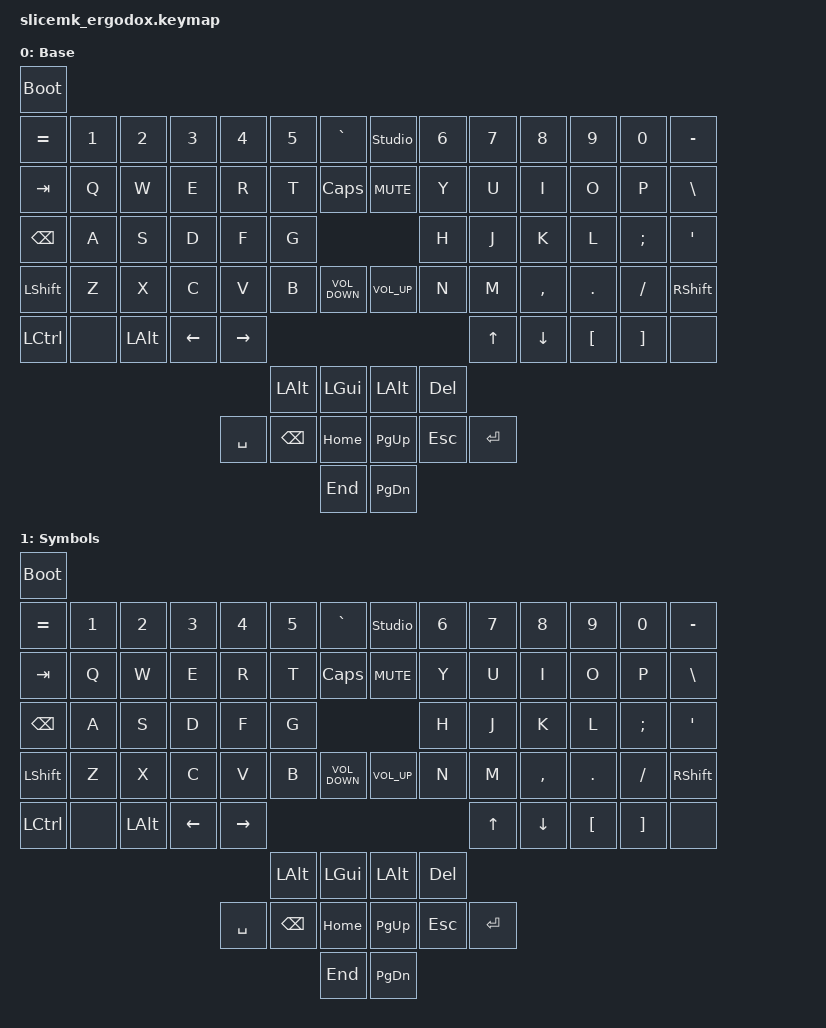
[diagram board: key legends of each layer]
#define LAYER_TEST 0

#include <behaviors.dtsi>
#include <dt-bindings/zmk/bt.h>
#include <dt-bindings/zmk/keys.h>
#include <dt-bindings/zmk/outputs.h>
#include <dt-bindings/zmk/pointing.h>
#include <dt-bindings/zmk/rgb.h>

/ {
	keymap {
		compatible = "zmk,keymap";
		base {
      display-name = "Base";
			bindings = <
				&bootloader
				&kp EQUAL        &kp NUMBER_1 &kp NUMBER_2 &kp NUMBER_3   &kp NUMBER_4    &kp NUMBER_5  &kp GRAVE         &studio_unlock  &kp NUMBER_6 &kp NUMBER_7 &kp NUMBER_8   &kp NUMBER_9     &kp NUMBER_0      &kp MINUS
				&kp TAB          &kp Q        &kp W        &kp E          &kp R           &kp T         &kp CAPSLOCK      &kp C_MUTE      &kp Y        &kp U        &kp I          &kp O            &kp P             &kp BACKSLASH
				&kp BACKSPACE    &kp A        &kp S        &kp D          &kp F           &kp G                                           &kp H        &kp J        &kp K          &kp L            &kp SEMICOLON     &kp SINGLE_QUOTE
				&kp LEFT_SHIFT   &kp Z        &kp X        &kp C          &kp V           &kp B         &kp C_VOLUME_DOWN &kp C_VOLUME_UP &kp N        &kp M        &kp COMMA      &kp PERIOD       &kp SLASH         &kp RIGHT_SHIFT
				&kp LEFT_CONTROL &none        &kp LEFT_ALT &kp LEFT_ARROW &kp RIGHT_ARROW                                                              &kp UP_ARROW &kp DOWN_ARROW &kp LEFT_BRACKET &kp RIGHT_BRACKET &none
				                                                                          &kp LEFT_ALT  &kp LEFT_GUI      &kp LEFT_ALT    &kp DELETE
				                                                          &kp SPACE       &kp BACKSPACE &kp HOME          &kp PAGE_UP     &kp ESCAPE   &kp RETURN
				                                                                                        &kp END           &kp PAGE_DOWN
			>;
		};
		symbols {
      display-name = "Symbols";
			bindings = <
				&bootloader
				&kp EQUAL        &kp NUMBER_1 &kp NUMBER_2 &kp NUMBER_3   &kp NUMBER_4    &kp NUMBER_5  &kp GRAVE         &studio_unlock  &kp NUMBER_6 &kp NUMBER_7 &kp NUMBER_8   &kp NUMBER_9     &kp NUMBER_0      &kp MINUS
				&kp TAB          &kp Q        &kp W        &kp E          &kp R           &kp T         &kp CAPSLOCK      &kp C_MUTE      &kp Y        &kp U        &kp I          &kp O            &kp P             &kp BACKSLASH
				&kp BACKSPACE    &kp A        &kp S        &kp D          &kp F           &kp G                                           &kp H        &kp J        &kp K          &kp L            &kp SEMICOLON     &kp SINGLE_QUOTE
				&kp LEFT_SHIFT   &kp Z        &kp X        &kp C          &kp V           &kp B         &kp C_VOLUME_DOWN &kp C_VOLUME_UP &kp N        &kp M        &kp COMMA      &kp PERIOD       &kp SLASH         &kp RIGHT_SHIFT
				&kp LEFT_CONTROL &none        &kp LEFT_ALT &kp LEFT_ARROW &kp RIGHT_ARROW                                                              &kp UP_ARROW &kp DOWN_ARROW &kp LEFT_BRACKET &kp RIGHT_BRACKET &none
				                                                                          &kp LEFT_ALT  &kp LEFT_GUI      &kp LEFT_ALT    &kp DELETE
				                                                          &kp SPACE       &kp BACKSPACE &kp HOME          &kp PAGE_UP     &kp ESCAPE   &kp RETURN
				                                                                                        &kp END           &kp PAGE_DOWN
			>;
		};
	};
};
